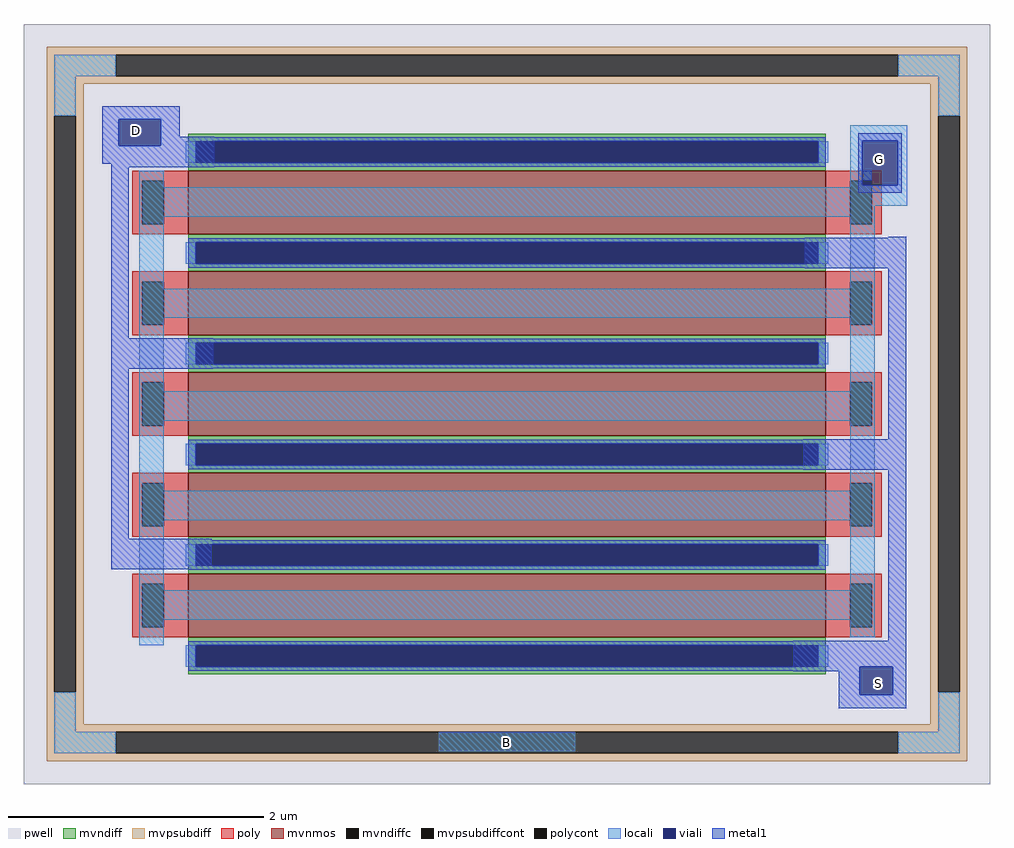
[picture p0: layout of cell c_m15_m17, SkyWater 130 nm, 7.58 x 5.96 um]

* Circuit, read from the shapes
.subckt c_m15_m17 D G S B
XM1 D G S B sky130_fd_pr__nfet_g5v0d10v5 w=5 l=0.5 m=5
.ends

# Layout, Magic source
magic
tech sky130A
magscale 1 2
<< locali >>
rect 1219 962 1309 986
rect 104 889 143 915
rect 1219 892 1238 962
rect 1294 892 1309 962
rect 1219 889 1309 892
rect 104 860 1309 889
rect 104 843 1258 860
rect 104 730 143 843
rect 1219 730 1258 843
rect 104 684 1258 730
rect 104 569 143 684
rect 1219 569 1258 684
rect 104 523 1258 569
rect 104 413 143 523
rect 1219 413 1258 523
rect 104 367 1258 413
rect 104 257 143 367
rect 1219 257 1258 367
rect 104 211 1258 257
rect 104 171 143 211
rect 1219 183 1258 211
rect 574 4 788 34
<< viali >>
rect 72 954 138 996
rect 1238 892 1294 962
rect 1234 93 1286 137
<< metal1 >>
rect 46 996 168 1016
rect 46 954 72 996
rect 138 968 168 996
rect 138 954 222 968
rect 46 926 222 954
rect 60 920 222 926
rect 1232 962 1300 974
rect 60 652 88 920
rect 1232 892 1238 962
rect 1294 892 1300 962
rect 1232 880 1300 892
rect 1279 810 1307 811
rect 1148 762 1307 810
rect 60 604 220 652
rect 60 338 88 604
rect 1279 494 1307 762
rect 1146 446 1307 494
rect 60 290 218 338
rect 1279 178 1307 446
rect 1130 137 1307 178
rect 1130 130 1234 137
rect 1201 93 1234 130
rect 1286 93 1307 137
rect 1201 72 1307 93
use sky130_fd_pr__nfet_g5v0d10v5_CMNTPV  sky130_fd_pr__nfet_g5v0d10v5_CMNTPV_0
transform 0 1 681 -1 0 549
box -596 -758 596 758
<< labels >>
flabel viali 100 978 100 978 0 FreeSans 800 0 0 0 D
port 0 nsew
flabel viali 1266 932 1266 932 0 FreeSans 800 0 0 0 G
port 1 nsew
flabel viali 1264 110 1264 110 0 FreeSans 800 0 0 0 S
port 2 nsew
flabel locali 680 18 680 18 0 FreeSans 800 0 0 0 B
port 3 nsew
<< end >>

# cell sky130_fd_pr__nfet_g5v0d10v5_CMNTPV: kit device sky130_fd_pr__nfet_g5v0d10v5, w 5 l 0.5 m 1 nf 5 diffcov 100 polycov 100 guard 1 glc 1 grc 1 gtc 1 gbc 1 tbcov 100 rlcov 100 topc 1 botc 1 poverlap 0 doverlap 1 lmin 0.50 wmin 0.42 class mosfet compatible {sky130_fd_pr__nfet_01v8 sky130_fd_pr__nfet_01v8_lvt sky130_fd_bs_flash__special_sonosfet_star sky130_fd_pr__nfet_g5v0d10v5 sky130_fd_pr__nfet_05v0_nvt sky130_fd_pr__nfet_03v3_nvt} full_metal 1 conn_gates 0 viasrc 100 viadrn 100 viagate 100 viagb 0 viagr 0 viagl 0 viagt 0 doports 1
